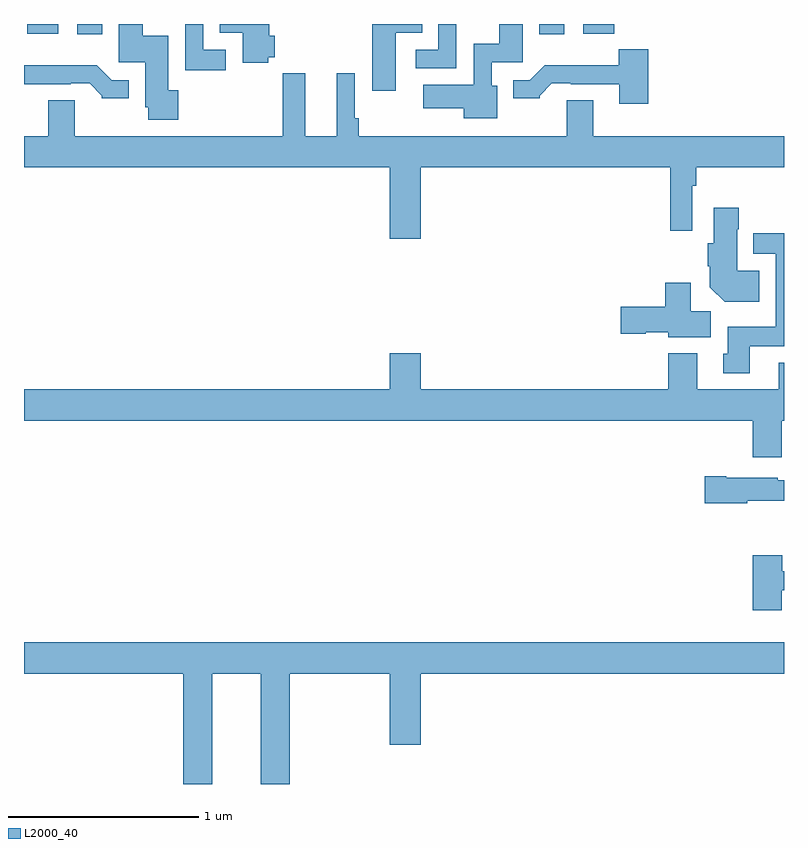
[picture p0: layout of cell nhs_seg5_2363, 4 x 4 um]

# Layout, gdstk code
import gdstk
lib = gdstk.Library(unit=1e-6, precision=1e-09)
def R(c, l, rs):  # rectangles x0, y0, x1, y1
    for r in rs: c.add(gdstk.rectangle(r[:2], r[2:], *l))
def P(c, l, *ps):  # polygons
    for p in ps: c.add(gdstk.Polygon(p, *l))
L2000_40 = (2000, 40)

nhs_seg5_2363 = lib.new_cell('nhs_seg5_2363')
R(nhs_seg5_2363, L2000_40, [(247.28,906.744,247.411,906.799), (249.713,906.744,249.844,906.799), (247.018,906.749,247.18,906.799), (249.944,906.749,250.106,906.799)])
P(nhs_seg5_2363, L2000_40, [(247.811,906.45),(247.759,906.45),(247.759,906.736),(247.624,906.736),(247.624,906.799),(247.499,906.799),(247.499,906.597),(247.637,906.597),(247.637,906.36),(247.654,906.36),(247.654,906.294),(247.811,906.294)],
  [(249.49,906.474),(249.462,906.474),(249.462,906.597),(249.625,906.597),(249.625,906.799),(249.5,906.799),(249.5,906.694),(249.366,906.694),(249.366,906.478),(249.102,906.478),(249.102,906.356),(249.314,906.356),(249.314,906.302),(249.49,906.302)],
  [(248.956,906.752),(249.095,906.752),(249.095,906.799),(248.834,906.799),(248.834,906.447),(248.956,906.447)],
  [(249.276,906.799),(249.18,906.799),(249.18,906.663),(249.063,906.663),(249.063,906.567),(249.276,906.567)],
  [(248.286,906.624),(248.321,906.624),(248.321,906.738),(248.29,906.738),(248.29,906.799),(248.029,906.799),(248.029,906.752),(248.15,906.752),(248.15,906.595),(248.286,906.595)],
  [(248.062,906.663),(247.944,906.663),(247.944,906.799),(247.848,906.799),(247.848,906.555),(248.062,906.555)],
  [(250.286,906.667),(250.131,906.667),(250.131,906.583),(249.742,906.583),(249.663,906.504),(249.575,906.504),(249.575,906.407),(249.714,906.407),(249.714,906.422),(249.778,906.486),(249.877,906.486),(249.877,906.483),(250.133,906.483),(250.133,906.378),(250.286,906.378)],
  [(247.552,906.504),(247.461,906.504),(247.383,906.583),(247,906.583),(247,906.483),(247.247,906.483),(247.247,906.486),(247.346,906.486),(247.41,906.422),(247.41,906.407),(247.552,906.407)],
  [(249.088,906.044),(250.402,906.044),(250.402,905.712),(250.518,905.712),(250.518,905.948),(250.538,905.948),(250.538,906.044),(251,906.044),(251,906.208),(249.997,906.208),(249.997,906.398),(249.857,906.398),(249.857,906.208),(248.762,906.208),(248.762,906.304),(248.742,906.304),(248.742,906.541),(248.645,906.541),(248.645,906.208),(248.479,906.208),(248.479,906.541),(248.362,906.541),(248.362,906.208),(247.267,906.208),(247.267,906.398),(247.127,906.398),(247.127,906.208),(247,906.208),(247,906.044),(248.924,906.044),(248.924,905.67),(249.088,905.67)],
  [(250.871,905.5),(250.753,905.5),(250.753,905.72),(250.761,905.72),(250.761,905.833),(250.631,905.833),(250.631,905.646),(250.598,905.646),(250.598,905.524),(250.61,905.524),(250.61,905.414),(250.688,905.336),(250.871,905.336)],
  [(250.819,905.102),(251,905.102),(251,905.698),(250.839,905.698),(250.839,905.589),(250.956,905.589),(250.956,905.206),(250.703,905.206),(250.703,905.064),(250.679,905.064),(250.679,904.962),(250.819,904.962)],
  [(250.615,905.288),(250.51,905.288),(250.51,905.437),(250.376,905.437),(250.376,905.312),(250.14,905.312),(250.14,905.17),(250.272,905.17),(250.272,905.177),(250.392,905.177),(250.392,905.15),(250.615,905.15)],
  [(250.987,904.712),(251,904.712),(251,905.017),(250.973,905.017),(250.973,904.876),(250.543,904.876),(250.543,905.065),(250.391,905.065),(250.391,904.876),(249.088,904.876),(249.088,905.065),(248.924,905.065),(248.924,904.876),(247,904.876),(247,904.712),(250.835,904.712),(250.835,904.518),(250.987,904.518)],
  [(250.806,904.289),(251,904.289),(251,904.399),(250.968,904.399),(250.968,904.411),(250.696,904.411),(250.696,904.419),(250.584,904.419),(250.584,904.277),(250.806,904.277)],
  [(250.987,903.819),(251,903.819),(251,903.919),(250.99,903.919),(250.99,904.003),(250.835,904.003),(250.835,903.714),(250.987,903.714)],
  [(247.99,903.38),(248.246,903.38),(248.246,902.799),(248.399,902.799),(248.399,903.38),(248.924,903.38),(248.924,903.006),(249.088,903.006),(249.088,903.38),(251,903.38),(251,903.544),(247,903.544),(247,903.38),(247.838,903.38),(247.838,902.799),(247.99,902.799)])

lib.write_gds('nhs_seg5_2363.gds')
